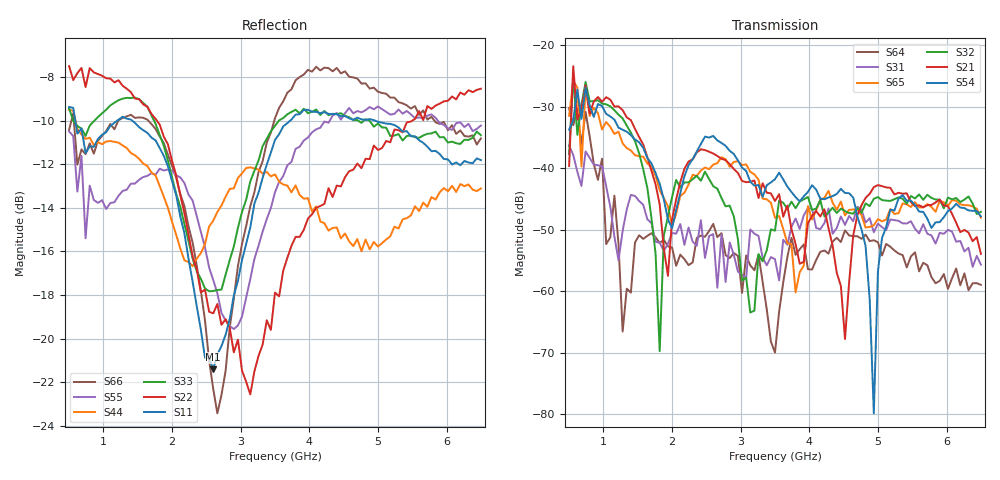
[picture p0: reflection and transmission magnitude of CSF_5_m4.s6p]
!Keysight Technologies,M9804A,MY58100912,A.14.10.03
!Date: Thursday, April 27, 2023 10:28:33
!Correction: S11(C  6-Port  )
!S12(C  6-Port  )
!S13(C  6-Port  )
!S14(C  6-Port  )
!S15(C  6-Port  )
!S16(C  6-Port  )
!S21(C  6-Port  )
!S22(C  6-Port  )
!S23(C  6-Port  )
!S24(C  6-Port  )
!S25(C  6-Port  )
!S26(C  6-Port  )
!S31(C  6-Port  )
!S32(C  6-Port  )
!S33(C  6-Port  )
!S34(C  6-Port  )
!S35(C  6-Port  )
!S36(C  6-Port  )
!S41(C  6-Port  )
!S42(C  6-Port  )
!S43(C  6-Port  )
!S44(C  6-Port  )
!S45(C  6-Port  )
!S46(C  6-Port  )
!S51(C  6-Port  )
!S52(C  6-Port  )
!S53(C  6-Port  )
!S54(C  6-Port  )
!S55(C  6-Port  )
!S56(C  6-Port  )
!S61(C  6-Port  )
!S62(C  6-Port  )
!S63(C  6-Port  )
!S64(C  6-Port  )
!S65(C  6-Port  )
!S66(C  6-Port  )
!S6P File: Measurement: :
# Hz S  RI  R 50
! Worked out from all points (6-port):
!   101 points, 500 MHz to 6.5 GHz, reference 50 ohm
!   strongest paths, dB at 500 MHz, 2 GHz, 3.5 GHz, 5 GHz, 6.5 GHz:
!     S54: -33.7, -49.8, -41.8, -56.8, -47.8
!     S21: -39.6, -48.4, -45.3, -42.7, -53.9
!     S32: -37.7, -44.7, -50.2, -44.7, -47.1
!     S65: -31.5, -49.3, -48.1, -48.3, -48.0
!     S31: -36.3, -50.5, -54.8, -49.0, -55.7
!     S64: -30.2, -52.9, -70.0, -52.0, -59.0
!   lowest |S11| = -21.4 dB at 2.6 GHz (marker M1), VSWR 1.19, Z = 42.4 + j2.13 ohm
!   |S11| at or under -10 dB: 590.3 MHz to 1.197 GHz (606.2 MHz wide, 67.9 % of centre); 1.424 GHz to 3.717 GHz (2.293 GHz wide, 89.2 % of centre); 4.967 GHz to end of sweep
